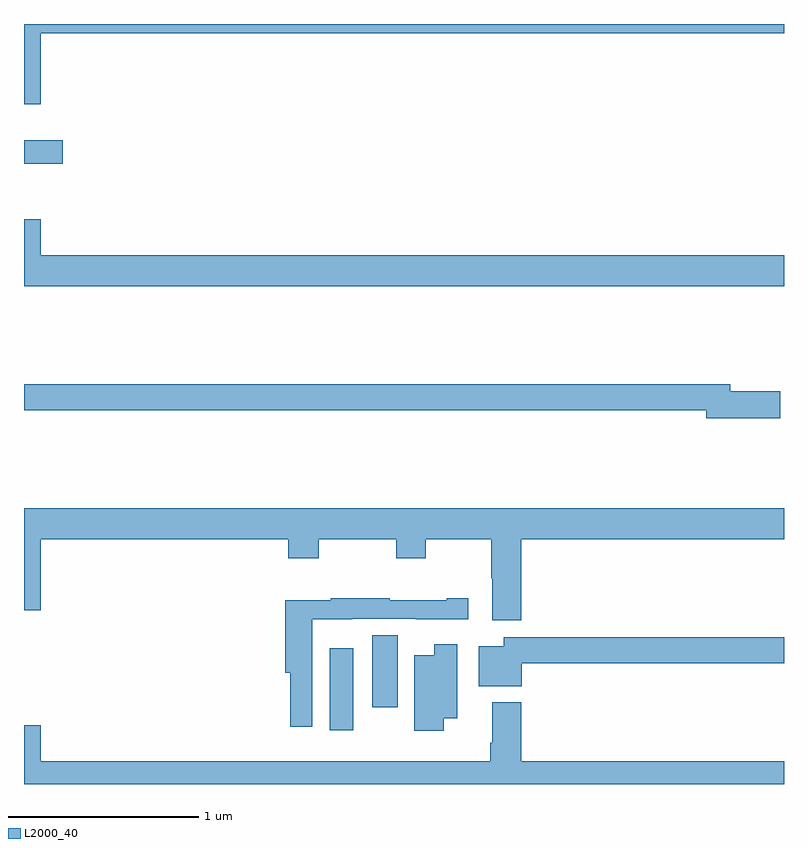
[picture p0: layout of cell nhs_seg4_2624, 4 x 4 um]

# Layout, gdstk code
import gdstk
lib = gdstk.Library(unit=1e-6, precision=1e-09)
def R(c, l, rs):  # rectangles x0, y0, x1, y1
    for r in rs: c.add(gdstk.rectangle(r[:2], r[2:], *l))
def P(c, l, *ps):  # polygons
    for p in ps: c.add(gdstk.Polygon(p, *l))
L2000_40 = (2000, 40)

nhs_seg4_2624 = lib.new_cell('nhs_seg4_2624')
R(nhs_seg4_2624, L2000_40, [(250.61,761.184,250.732,761.614), (250.832,761.304,250.966,761.684), (249,764.165,249.205,764.287)])
P(nhs_seg4_2624, L2000_40, [(249.088,764.852),(253,764.852),(253,764.9),(249,764.9),(249,764.478),(249.088,764.478)],
  [(253,763.684),(249.088,763.684),(249.088,763.873),(249,763.873),(249,763.52),(253,763.52)],
  [(252.979,762.968),(252.718,762.968),(252.718,763.004),(249,763.004),(249,762.868),(252.59,762.868),(252.59,762.826),(252.979,762.826)],
  [(251.618,762.188),(253,762.188),(253,762.352),(249,762.352),(249,761.814),(249.088,761.814),(249.088,762.188),(250.391,762.188),(250.391,762.089),(250.551,762.089),(250.551,762.188),(250.96,762.188),(250.96,762.089),(251.115,762.089),(251.115,762.188),(251.458,762.188),(251.458,761.984),(251.465,761.984),(251.465,761.763),(251.618,761.763)],
  [(250.518,761.768),(250.728,761.768),(250.728,761.769),(251.062,761.769),(251.062,761.768),(251.338,761.768),(251.338,761.878),(251.225,761.878),(251.225,761.868),(250.925,761.868),(250.925,761.878),(250.615,761.878),(250.615,761.868),(250.376,761.868),(250.376,761.486),(250.402,761.486),(250.402,761.202),(250.518,761.202)],
  [(251.62,761.536),(253,761.536),(253,761.672),(251.526,761.672),(251.526,761.626),(251.393,761.626),(251.393,761.414),(251.62,761.414)],
  [(251.209,761.246),(251.281,761.246),(251.281,761.635),(251.159,761.635),(251.159,761.578),(251.054,761.578),(251.054,761.181),(251.209,761.181)],
  [(249.088,761.209),(249,761.209),(249,760.9),(253,760.9),(253,761.02),(251.618,761.02),(251.618,761.329),(251.465,761.329),(251.465,761.116),(251.453,761.116),(251.453,761.02),(249.088,761.02)])

lib.write_gds('nhs_seg4_2624.gds')
